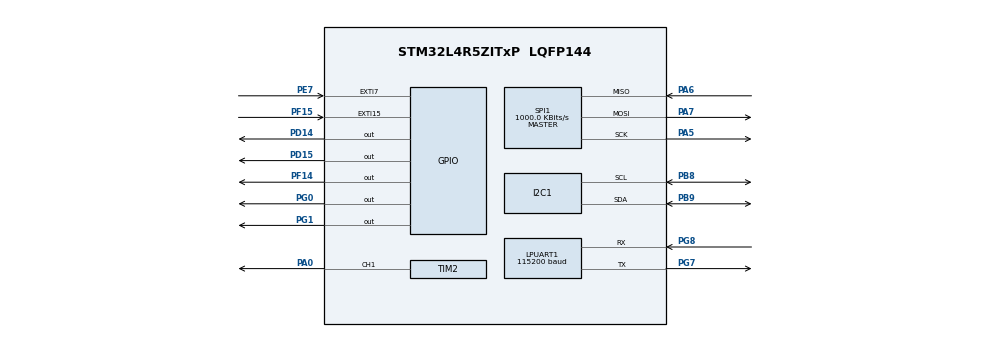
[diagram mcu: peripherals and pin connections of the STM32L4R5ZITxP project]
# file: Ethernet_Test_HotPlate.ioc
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I2C1.Timing=0x00100D14
LPUART1.BaudRate=115200
LPUART1.WordLength=UART_WORDLENGTH_8B
Mcu.Family=STM32L4
Mcu.Name=STM32L4R5ZITxP
Mcu.Package=LQFP144
NVIC.EXTI15_10_IRQn=true\:0\:0\:false\:false\:true\:true\:true\:true
NVIC.EXTI9_5_IRQn=true\:0\:0\:false\:false\:true\:true\:true\:true
NVIC.PriorityGroup=NVIC_PRIORITYGROUP_4
PA0.Signal=S_TIM2_CH1
PA1.Signal=ADCx_IN6
PA10.Signal=USB_OTG_FS_ID
PA13\ (JTMS/SWDIO).Signal=SYS_JTMS-SWDIO
PA14\ (JTCK/SWCLK).Signal=SYS_JTCK-SWCLK
PA3.Signal=ADCx_IN8
PA4.Signal=SPI1_NSS
PA5.Mode=Full_Duplex_Master
PA5.Signal=SPI1_SCK
PA6.Mode=Full_Duplex_Master
PA6.Signal=SPI1_MISO
PA7.Mode=Full_Duplex_Master
PA7.Signal=SPI1_MOSI
PA8.Signal=USB_OTG_FS_SOF
PA9.Signal=USB_OTG_FS_VBUS
PB0.Signal=S_TIM3_CH3
PB1.Signal=ADCx_IN16
PB10.Signal=S_TIM2_CH3
PB12.Signal=SAI2_FS_A
PB13.Signal=SAI2_SCK_A
PB14.Signal=S_TIM15_CH1
PB15.Signal=SAI2_SD_A
PB2.Signal=COMP1_INP
PB3\ (JTDO/TRACESWO).Signal=SPI3_SCK
PB4\ (NJTRST).Signal=SPI3_MISO
PB5.Signal=SPI3_MOSI
PB6.Signal=COMP2_INP
PB8.Mode=I2C
PB8.Signal=I2C1_SCL
PB9.Mode=I2C
PB9.Signal=I2C1_SDA
PC0.Signal=ADCx_IN1
PC1.Signal=ADCx_IN2
PC10.Signal=SDMMC1_D2
PC11.Signal=SDMMC1_D3
PC12.Signal=SDMMC1_CK
PC13.Signal=SYS_WKUP2
PC14-OSC32_IN\ (PC14).Signal=RCC_OSC32_IN
PC15-OSC32_OUT\ (PC15).Signal=RCC_OSC32_OUT
PC2.Signal=ADCx_IN3
PC3.Signal=ADCx_IN4
PC4.Signal=ADCx_IN13
PC5.Signal=ADCx_IN14
PC6.Signal=SAI2_MCLK_A
PC7.Signal=S_TIM3_CH2
PC8.Signal=SDMMC1_D0
PC9.Signal=SDMMC1_D1
PD0.Signal=CAN1_RX
PD14.GPIO_Speed=GPIO_SPEED_FREQ_HIGH
PD14.PinState=GPIO_PIN_SET
PD14.Signal=GPIO_Output
PD15.GPIO_Speed=GPIO_SPEED_FREQ_HIGH
PD15.Signal=GPIO_Output
PD2.Signal=SDMMC1_CMD
PD3.Signal=USART2_CTS
PD4.Signal=USART2_RTS
PD5.Signal=USART2_TX
PD6.Signal=USART2_RX
PD8.Signal=USART3_TX
PD9.Signal=USART3_RX
PE0.Signal=S_TIM4_ETR
PE10.Signal=TIM1_CH2N
PE11.Signal=S_TIM1_CH2
PE12.Signal=TIM1_CH3N
PE13.Signal=S_TIM1_CH3
PE14.Signal=TIM1_BKIN2
PE15.Signal=TIM1_BKIN
PE2.Signal=SAI1_MCLK_A
PE3.Signal=SAI1_SD_B
PE7.GPIO_ModeDefaultEXTI=GPIO_MODE_IT_FALLING
PE7.GPIO_PuPd=GPIO_PULLUP
PE7.Signal=GPXTI7
PE8.Signal=TIM1_CH1N
PE9.Signal=S_TIM1_CH1
PF0.Signal=I2C2_SDA
PF1.Signal=I2C2_SCL
PF14.PinState=GPIO_PIN_SET
PF14.Signal=GPIO_Output
PF15.GPIO_ModeDefaultEXTI=GPIO_MODE_IT_FALLING
PF15.Signal=GPXTI15
PF2.Signal=I2C2_SMBA
PF7.Signal=SAI1_MCLK_B
PG0.GPIO_ModeDefaultOutputPP=GPIO_MODE_OUTPUT_OD
PG0.GPIO_PuPd=GPIO_PULLUP
PG0.GPIO_Speed=GPIO_SPEED_FREQ_HIGH
PG0.PinState=GPIO_PIN_SET
PG0.Signal=GPIO_Output
PG1.GPIO_ModeDefaultOutputPP=GPIO_MODE_OUTPUT_OD
PG1.GPIO_PuPd=GPIO_PULLUP
PG1.GPIO_Speed=GPIO_SPEED_FREQ_HIGH
PG1.PinState=GPIO_PIN_SET
PG1.Signal=GPIO_Output
PG7.Mode=Asynchronous
PG7.Signal=LPUART1_TX
PG8.Mode=Asynchronous
PG8.Signal=LPUART1_RX
PH0-OSC_IN\ (PH0).Signal=RCC_OSC_IN
PH1-OSC_OUT\ (PH1).Signal=RCC_OSC_OUT
ProjectManager.HeapSize=0x200
ProjectManager.StackSize=0x400
ProjectManager.TargetToolchain=STM32CubeIDE
RCC.HSE_VALUE=8000000
RCC.HSI48_VALUE=48000000
RCC.HSI_VALUE=16000000
RCC.LSE_VALUE=32768
RCC.MSI_VALUE=4000000
RCC.VCOOutputFreq_Value=32000000
SH.ADCx_IN1.0=ADC1_IN1
SH.ADCx_IN13.0=ADC1_IN13
SH.ADCx_IN14.0=ADC1_IN14
SH.ADCx_IN16.0=ADC1_IN16
SH.ADCx_IN2.0=ADC1_IN2
SH.ADCx_IN3.0=ADC1_IN3
SH.ADCx_IN4.0=ADC1_IN4
SH.ADCx_IN6.0=ADC1_IN6
SH.ADCx_IN8.0=ADC1_IN8
SH.S_TIM15_CH1.0=TIM15_CH1
SH.S_TIM1_CH1.0=TIM1_CH1
SH.S_TIM1_CH2.0=TIM1_CH2
SH.S_TIM1_CH3.0=TIM1_CH3
SH.S_TIM2_CH1.0=TIM2_CH1,PWM Generation1 CH1
SH.S_TIM2_CH3.0=TIM2_CH3
SH.S_TIM3_CH2.0=TIM3_CH2
SH.S_TIM3_CH3.0=TIM3_CH3
SH.S_TIM4_ETR.0=TIM4_ETR
SPI1.BaudRatePrescaler=SPI_BAUDRATEPRESCALER_4
SPI1.CalculateBaudRate=1000.0 KBits/s
SPI1.DataSize=SPI_DATASIZE_8BIT
SPI1.Direction=SPI_DIRECTION_2LINES
SPI1.Mode=SPI_MODE_MASTER
SPI1.NSSPMode=SPI_NSS_PULSE_DISABLE
SPI1.VirtualType=VM_MASTER
TIM2.Channel-PWM\ Generation1\ CH1=TIM_CHANNEL_1
TIM2.Period=1000
TIM2.Prescaler=31
TIM2.Pulse-PWM\ Generation1\ CH1=100
VP_TIM2_VS_ClockSourceINT.Mode=Internal
board=NUCLEO-L4R5ZI-P

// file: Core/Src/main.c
/* USER CODE BEGIN Header */
/**
 ******************************************************************************
 * @file           : main.c
 * @brief          : Main program body
 ******************************************************************************
 * @attention
 *
 * Copyright (c) 2025 STMicroelectronics.
 * All rights reserved.
 *
 * This software is licensed under terms that can be found in the LICENSE file
 * in the root directory of this software component.
 * If no LICENSE file comes with this software, it is provided AS-IS.
 *
 ******************************************************************************
 */
/* USER CODE END Header */
#include "main.h"

/* USER CODE BEGIN Includes */
#include "net_w5500.h"
#include "stdio.h"
#include "stdint.h"
#include "math.h"
#include "tm1637.h"
#include "pid.h"
#include "Modulino_Knob.h"
#include "AHT21.h"

/* USER CODE END Includes */

/* USER CODE BEGIN PD */
#define W5500_CS_GPIO_Port   GPIOD
#define W5500_CS_Pin         GPIO_PIN_14   // your CS

#define W5500_INT_GPIO_Port  GPIOF
#define W5500_INT_Pin        GPIO_PIN_15

#define W5500_RST_GPIO_Port   GPIOD
#define W5500_RST_Pin         GPIO_PIN_15

#define W5500_COMMON_BLOCK   0x00  // BSB for common regs
#define W5500_OM_VDM         0x00  // variable data length mode
#define W5500_RWB_READ       0x01  // <-- note: this bit position depends on datasheet bitfield; see note below

#define SELECTION_TIMEOUT	3000

static inline void W5500_Select(void) {
	HAL_GPIO_WritePin(W5500_CS_GPIO_Port, W5500_CS_Pin, GPIO_PIN_RESET);
}
static inline void W5500_Deselect(void) {
	HAL_GPIO_WritePin(W5500_CS_GPIO_Port, W5500_CS_Pin, GPIO_PIN_SET);
}

/* USER CODE END PD */

I2C_HandleTypeDef hi2c1;

UART_HandleTypeDef hlpuart1;

SPI_HandleTypeDef hspi1;

TIM_HandleTypeDef htim2;

/* USER CODE BEGIN PV */

enum states {
	IDLE = 0, SELECTING
};
tm1637_t tm1637_display;
int STATE;

// PID variables - MUST be doubles
PID_TypeDef TPID;
uint16_t knobReading;
double setpoint = 25.0;      // Changed from float to double
double current_temp = 0.0;   // Changed from float to double
double pid_output = 0.0;     // Changed from float to double
uint32_t pwm_out = 0;

// PID tuning parameters
double Kp = 10.0;
double Ki = 2.0;
double Kd = 3.0;
double Kt = 1.5; // custom parameter to account for heat dispersion

int last_connected = 0;
uint32_t click_time = 0;

/* USER CODE END PV */

void SystemClock_Config(void);
static void MX_GPIO_Init(void);
static void MX_SPI1_Init(void);
static void MX_LPUART1_UART_Init(void);
static void MX_I2C1_Init(void);
static void MX_TIM2_Init(void);

/* USER CODE BEGIN 0 */

// 1-byte SPI xfer helper
static uint8_t spi_txrx1(uint8_t v) {
	uint8_t rx;
	HAL_SPI_TransmitReceive(&hspi1, &v, &rx, 1, HAL_MAX_DELAY);
	return rx;
}

//void HAL_GPIO_EXTI_Callback(uint16_t GPIO_Pin) {
//  if (GPIO_Pin == W5500_INT_Pin) {
//    net_w5500_irq_handler();
//  }
//}

uint8_t W5500_ReadVersion(void) {
	uint8_t ver;
	W5500_Select();
	spi_txrx1(0x00); // Address High (VERSIONR = 0x0039)
	spi_txrx1(0x39); // Address Low
	spi_txrx1(0x00); // Control: Common Block, Read, VDM Mode
	ver = spi_txrx1(0x00); // Dummy byte to clock in the data
	W5500_Deselect();
	return ver;
}

int _write(int file, char *ptr, int len) {
	(void) file;
	HAL_UART_Transmit(&hlpuart1, (uint8_t*) ptr, len, HAL_MAX_DELAY);
	return len;
}

int __io_putchar(int ch) {
	HAL_UART_Transmit(&hlpuart1, (uint8_t*) &ch, 1, 10);
	return ch;
}

void TM1637_Init(void) {
	// Initialize TM1637 display
	tm1637_display.gpio_clk = GPIOG;
	tm1637_display.pin_clk = GPIO_PIN_0;
	tm1637_display.gpio_dat = GPIOG;
	tm1637_display.pin_dat = GPIO_PIN_1;
	tm1637_display.seg_cnt = 4;  // 4-digit display

	tm1637_err_t result = tm1637_init(&tm1637_display);
	if (result == TM1637_ERR_NONE) {
		printf("TM1637 Init SUCCESS!\r\n");

		tm1637_brightness(&tm1637_display, 8);  // Max brightness (0-8)
		printf("Brightness set to 8\r\n");

		tm1637_clear(&tm1637_display);
		printf("Display cleared\r\n");

		// Test display - show "----" for 1 second
		result = tm1637_printf(&tm1637_display, "----");
		printf("Display ---- result: %d\r\n", result);
		HAL_Delay(1000);

		tm1637_clear(&tm1637_display);
		printf("Display cleared again\r\n");
	} else {
		printf("TM1637 Init FAILED! Error: %d\r\n", result);
	}

}

void PID_Start(void) {
	// Start PWM on TIM2 Channel 1
	HAL_TIM_PWM_Start(&htim2, TIM_CHANNEL_1);

	// Initialize with 0% duty cycle (off)
	__HAL_TIM_SET_COMPARE(&htim2, TIM_CHANNEL_1, 0);

	// Initialize temperature sensor
	AHT21_init();
	HAL_Delay(100);  // Give sensor time to stabilize

	// Initialize PID controller
	// PID2(PID_TypeDef *uPID, double *Input, double *Output, double *Setpoint,
	//      double Kp, double Ki, double Kd, PIDCD_TypeDef ControllerDirection)
	PID2(&TPID, &current_temp, &pid_output, &setpoint, Kp, Ki, Kd,
			_PID_CD_DIRECT);

	// Set PID output limits to match your PWM range (0-1000)
	PID_SetOutputLimits(&TPID, 0, 1000);

	// Set sample time to 500ms (matches your delay)
	PID_SetSampleTime(&TPID, 500);

	// Set PID mode to automatic
	PID_SetMode(&TPID, _PID_MODE_AUTOMATIC);

	printf("PID Temperature Control Started\r\n");
	printf("Setpoint: %.1f C\r\n", setpoint);
	printf("Kp=%.2f, Ki=%.2f, Kd=%.2f\r\n", Kp, Ki, Kd);
}

void updatePWM(void) {
	// Read current temperature from sensor
	current_temp = (double) AHT21_Read_Temperature();

	double error = setpoint - current_temp;
//	if (fabs(error) < 0.5)  // If within 0.5°C of setpoint
//			{
//		// Reset the PID's internal integral accumulator
//		TPID.OutputSum = 10.0;  // Set to desired baseline PWM value
//	}

	// Compute PID output (returns 1 if computed, 0 if waiting for sample time)
	if (PID_Compute(&TPID)) {
		// Safety check - limit maximum temperature
		if (current_temp > 100.0) {
			__HAL_TIM_SET_COMPARE(&htim2, TIM_CHANNEL_1, 0);
			tm1637_printf(&tm1637_display, "OVHT"); // Display "OVHT" for overheat
			printf("ERROR: Over temperature! System halted.\r\n");
			while (1)
				;  // Halt the system
		}

		pwm_out = (uint32_t) (pid_output + Kt * setpoint);
		pwm_out = 1000 < pwm_out ? 1000 : pwm_out;
		if (error < -0.03) {
			pwm_out = 0;
		}

		// Apply PID output to PWM
		__HAL_TIM_SET_COMPARE(&htim2, TIM_CHANNEL_1, pwm_out);

		// Update TM1637 display with current temperature (every 500ms when PID computes)
		if (STATE != SELECTING){
			char temp_str[5];
			snprintf(temp_str, sizeof(temp_str), "%4.1f", current_temp);
			tm1637_printf(&tm1637_display, temp_str);
		}

		// Print debug information
		printf("Temp: %.2f C | SP: %.1f C | PWM: %d/1000 | Err: %.2f\r\n",
				current_temp, setpoint, pwm_out, (setpoint - current_temp));

		char buf[64];
		snprintf(buf, sizeof buf, "Temp: %.2f C | SP: %.1f C | STATE: %d \n\r",
				current_temp, setpoint, STATE);
		net_send_str(buf);
	}

}

void HAL_GPIO_EXTI_Callback(uint16_t GPIO_Pin) {
	if (GPIO_Pin == GPIO_PIN_7) // use PE7 for pushbutton
	{
		if (STATE == IDLE) {
			Knob_Set_Position((uint16_t) setpoint);
			click_time = HAL_GetTick();
			STATE = SELECTING;
		} else if (STATE == SELECTING) {
			setpoint = knobReading;
			STATE = IDLE;
		}
	}
}

void network_handler(void) {
	// keep the socket serviced
	net_poll();

	// verify connection status
	int connected = net_is_connected();

	// Send a one-time greeting right after a client connects
	if (connected && !last_connected) {
		printf("Connected!\n\r");
		net_send_str("DeviceType: HOT_PLATE \n\r");
	}

	char line[256];
	int n = net_recv_line(line, sizeof line, 0);  // non-blocking
	if (n > 0) {
		int newtemp;
		int result = sscanf(line, "%d", &newtemp);
		if (result > 0 &&  newtemp <= 100 && newtemp >= 0 && STATE != SELECTING){
			setpoint = (double)newtemp;
			net_send_str("ACK: ");
			net_send_str(line);
			net_send_str("\n\r");
		} else {
			net_send_str("NACK");
			net_send_str("\n\r");
		}

		printf("New temperature: %.1f \n\r", setpoint);

	}

	last_connected = connected;
}
/* USER CODE END 0 */

int main(void)
{

  /* MCU Configuration--------------------------------------------------------*/

  /* Reset of all peripherals, Initializes the Flash interface and the Systick. */
  HAL_Init();

  /* Configure the system clock */
  SystemClock_Config();

  /* Initialize all configured peripherals */
  MX_GPIO_Init();
  MX_SPI1_Init();
  MX_LPUART1_UART_Init();
  MX_I2C1_Init();
  MX_TIM2_Init();
  /* USER CODE BEGIN 2 */

	STATE = IDLE;

	Knob_Set_Position((uint16_t) setpoint);

	TM1637_Init();

	PID_Start();

	ethernet_start();                   // DHCP → static fallback
	net_start_server(NET_SERVER_PORT);  // default 5000

	printf("nc -v <ip> %u\r\n", NET_SERVER_PORT);
	printf("nc -v <ip> 5000   (type lines, press Enter)\r\n");

  /* USER CODE END 2 */

  /* Infinite loop */
  /* USER CODE BEGIN WHILE */
	while (1) {
		switch (STATE) {
		case IDLE:
			updatePWM();
			network_handler();
			break;

		case SELECTING:
			knobReading = Knob_Read_Position();
			char display_str[5];
			snprintf(display_str, sizeof(display_str), "%d", knobReading);
			tm1637_printf(&tm1637_display, display_str);
			updatePWM();
			network_handler();

			if (HAL_GetTick() - click_time > SELECTION_TIMEOUT) {
				setpoint = knobReading;
				STATE = IDLE;
			}
			break;

		default:
			STATE = IDLE;

		}
    /* USER CODE END WHILE */

	}
}

void SystemClock_Config(void)
{
  RCC_OscInitTypeDef RCC_OscInitStruct = {0};
  RCC_ClkInitTypeDef RCC_ClkInitStruct = {0};

  /** Configure the main internal regulator output voltage
  */
  if (HAL_PWREx_ControlVoltageScaling(PWR_REGULATOR_VOLTAGE_SCALE1) != HAL_OK)
  {
    Error_Handler();
  }

  /** Initializes the RCC Oscillators according to the specified parameters
  * in the RCC_OscInitTypeDef structure.
  */
  RCC_OscInitStruct.OscillatorType = RCC_OSCILLATORTYPE_MSI;
  RCC_OscInitStruct.MSIState = RCC_MSI_ON;
  RCC_OscInitStruct.MSICalibrationValue = 0;
  RCC_OscInitStruct.MSIClockRange = RCC_MSIRANGE_6;
  RCC_OscInitStruct.PLL.PLLState = RCC_PLL_NONE;
  if (HAL_RCC_OscConfig(&RCC_OscInitStruct) != HAL_OK)
  {
    Error_Handler();
  }

  /** Initializes the CPU, AHB and APB buses clocks
  */
  RCC_ClkInitStruct.ClockType = RCC_CLOCKTYPE_HCLK|RCC_CLOCKTYPE_SYSCLK
                              |RCC_CLOCKTYPE_PCLK1|RCC_CLOCKTYPE_PCLK2;
  RCC_ClkInitStruct.SYSCLKSource = RCC_SYSCLKSOURCE_MSI;
  RCC_ClkInitStruct.AHBCLKDivider = RCC_SYSCLK_DIV1;
  RCC_ClkInitStruct.APB1CLKDivider = RCC_HCLK_DIV1;
  RCC_ClkInitStruct.APB2CLKDivider = RCC_HCLK_DIV1;

  if (HAL_RCC_ClockConfig(&RCC_ClkInitStruct, FLASH_LATENCY_0) != HAL_OK)
  {
    Error_Handler();
  }
}

static void MX_I2C1_Init(void)
{

  hi2c1.Instance = I2C1;
  hi2c1.Init.Timing = 0x00100D14;
  hi2c1.Init.OwnAddress1 = 0;
  hi2c1.Init.AddressingMode = I2C_ADDRESSINGMODE_7BIT;
  hi2c1.Init.DualAddressMode = I2C_DUALADDRESS_DISABLE;
  hi2c1.Init.OwnAddress2 = 0;
  hi2c1.Init.OwnAddress2Masks = I2C_OA2_NOMASK;
  hi2c1.Init.GeneralCallMode = I2C_GENERALCALL_DISABLE;
  hi2c1.Init.NoStretchMode = I2C_NOSTRETCH_DISABLE;
  if (HAL_I2C_Init(&hi2c1) != HAL_OK)
  {
    Error_Handler();
  }

  /** Configure Analogue filter
  */
  if (HAL_I2CEx_ConfigAnalogFilter(&hi2c1, I2C_ANALOGFILTER_ENABLE) != HAL_OK)
  {
    Error_Handler();
  }

  /** Configure Digital filter
  */
  if (HAL_I2CEx_ConfigDigitalFilter(&hi2c1, 0) != HAL_OK)
  {
    Error_Handler();
  }

}

static void MX_LPUART1_UART_Init(void)
{

  hlpuart1.Instance = LPUART1;
  hlpuart1.Init.BaudRate = 115200;
  hlpuart1.Init.WordLength = UART_WORDLENGTH_8B;
  hlpuart1.Init.StopBits = UART_STOPBITS_1;
  hlpuart1.Init.Parity = UART_PARITY_NONE;
  hlpuart1.Init.Mode = UART_MODE_TX_RX;
  hlpuart1.Init.HwFlowCtl = UART_HWCONTROL_NONE;
  hlpuart1.Init.OneBitSampling = UART_ONE_BIT_SAMPLE_DISABLE;
  hlpuart1.Init.ClockPrescaler = UART_PRESCALER_DIV1;
  hlpuart1.AdvancedInit.AdvFeatureInit = UART_ADVFEATURE_NO_INIT;
  hlpuart1.FifoMode = UART_FIFOMODE_DISABLE;
  if (HAL_UART_Init(&hlpuart1) != HAL_OK)
  {
    Error_Handler();
  }
  if (HAL_UARTEx_SetTxFifoThreshold(&hlpuart1, UART_TXFIFO_THRESHOLD_1_8) != HAL_OK)
  {
    Error_Handler();
  }
  if (HAL_UARTEx_SetRxFifoThreshold(&hlpuart1, UART_RXFIFO_THRESHOLD_1_8) != HAL_OK)
  {
    Error_Handler();
  }
  if (HAL_UARTEx_DisableFifoMode(&hlpuart1) != HAL_OK)
  {
    Error_Handler();
  }

}

static void MX_SPI1_Init(void)
{

  /* SPI1 parameter configuration*/
  hspi1.Instance = SPI1;
  hspi1.Init.Mode = SPI_MODE_MASTER;
  hspi1.Init.Direction = SPI_DIRECTION_2LINES;
  hspi1.Init.DataSize = SPI_DATASIZE_8BIT;
  hspi1.Init.CLKPolarity = SPI_POLARITY_LOW;
  hspi1.Init.CLKPhase = SPI_PHASE_1EDGE;
  hspi1.Init.NSS = SPI_NSS_SOFT;
  hspi1.Init.BaudRatePrescaler = SPI_BAUDRATEPRESCALER_4;
  hspi1.Init.FirstBit = SPI_FIRSTBIT_MSB;
  hspi1.Init.TIMode = SPI_TIMODE_DISABLE;
  hspi1.Init.CRCCalculation = SPI_CRCCALCULATION_DISABLE;
  hspi1.Init.CRCPolynomial = 7;
  hspi1.Init.CRCLength = SPI_CRC_LENGTH_DATASIZE;
  hspi1.Init.NSSPMode = SPI_NSS_PULSE_DISABLE;
  if (HAL_SPI_Init(&hspi1) != HAL_OK)
  {
    Error_Handler();
  }

}

static void MX_TIM2_Init(void)
{

  TIM_ClockConfigTypeDef sClockSourceConfig = {0};
  TIM_MasterConfigTypeDef sMasterConfig = {0};
  TIM_OC_InitTypeDef sConfigOC = {0};

  htim2.Instance = TIM2;
  htim2.Init.Prescaler = 31;
  htim2.Init.CounterMode = TIM_COUNTERMODE_UP;
  htim2.Init.Period = 1000;
  htim2.Init.ClockDivision = TIM_CLOCKDIVISION_DIV1;
  htim2.Init.AutoReloadPreload = TIM_AUTORELOAD_PRELOAD_DISABLE;
  if (HAL_TIM_Base_Init(&htim2) != HAL_OK)
  {
    Error_Handler();
  }
  sClockSourceConfig.ClockSource = TIM_CLOCKSOURCE_INTERNAL;
  if (HAL_TIM_ConfigClockSource(&htim2, &sClockSourceConfig) != HAL_OK)
  {
    Error_Handler();
  }
  if (HAL_TIM_PWM_Init(&htim2) != HAL_OK)
  {
    Error_Handler();
  }
  sMasterConfig.MasterOutputTrigger = TIM_TRGO_RESET;
  sMasterConfig.MasterSlaveMode = TIM_MASTERSLAVEMODE_DISABLE;
  if (HAL_TIMEx_MasterConfigSynchronization(&htim2, &sMasterConfig) != HAL_OK)
  {
    Error_Handler();
  }
  sConfigOC.OCMode = TIM_OCMODE_PWM1;
  sConfigOC.Pulse = 100;
  sConfigOC.OCPolarity = TIM_OCPOLARITY_HIGH;
  sConfigOC.OCFastMode = TIM_OCFAST_DISABLE;
  if (HAL_TIM_PWM_ConfigChannel(&htim2, &sConfigOC, TIM_CHANNEL_1) != HAL_OK)
  {
    Error_Handler();
  }
  HAL_TIM_MspPostInit(&htim2);

}

static void MX_GPIO_Init(void)
{
  GPIO_InitTypeDef GPIO_InitStruct = {0};

  /* GPIO Ports Clock Enable */
  __HAL_RCC_GPIOE_CLK_ENABLE();
  __HAL_RCC_GPIOC_CLK_ENABLE();
  __HAL_RCC_GPIOF_CLK_ENABLE();
  __HAL_RCC_GPIOH_CLK_ENABLE();
  __HAL_RCC_GPIOA_CLK_ENABLE();
  __HAL_RCC_GPIOB_CLK_ENABLE();
  __HAL_RCC_GPIOG_CLK_ENABLE();
  __HAL_RCC_GPIOD_CLK_ENABLE();
  HAL_PWREx_EnableVddIO2();

  /*Configure GPIO pin Output Level */
  HAL_GPIO_WritePin(GPIOF, GPIO_PIN_14, GPIO_PIN_SET);

  /*Configure GPIO pin Output Level */
  HAL_GPIO_WritePin(GPIOG, GPIO_PIN_0|GPIO_PIN_1, GPIO_PIN_SET);

  /*Configure GPIO pin Output Level */
  HAL_GPIO_WritePin(GPIOD, GPIO_PIN_14, GPIO_PIN_SET);

  /*Configure GPIO pin Output Level */
  HAL_GPIO_WritePin(GPIOD, GPIO_PIN_15, GPIO_PIN_RESET);

  /*Configure GPIO pins : PE2 PE3 */
  GPIO_InitStruct.Pin = GPIO_PIN_2|GPIO_PIN_3;
  GPIO_InitStruct.Mode = GPIO_MODE_AF_PP;
  GPIO_InitStruct.Pull = GPIO_NOPULL;
  GPIO_InitStruct.Speed = GPIO_SPEED_FREQ_LOW;
  GPIO_InitStruct.Alternate = GPIO_AF13_SAI1;
  HAL_GPIO_Init(GPIOE, &GPIO_InitStruct);

  /*Configure GPIO pins : PF0 PF1 PF2 */
  GPIO_InitStruct.Pin = GPIO_PIN_0|GPIO_PIN_1|GPIO_PIN_2;
  GPIO_InitStruct.Mode = GPIO_MODE_AF_OD;
  GPIO_InitStruct.Pull = GPIO_NOPULL;
  GPIO_InitStruct.Speed = GPIO_SPEED_FREQ_VERY_HIGH;
  GPIO_InitStruct.Alternate = GPIO_AF4_I2C2;
  HAL_GPIO_Init(GPIOF, &GPIO_InitStruct);

  /*Configure GPIO pin : PF7 */
  GPIO_InitStruct.Pin = GPIO_PIN_7;
  GPIO_InitStruct.Mode = GPIO_MODE_AF_PP;
  GPIO_InitStruct.Pull = GPIO_NOPULL;
  GPIO_InitStruct.Speed = GPIO_SPEED_FREQ_LOW;
  GPIO_InitStruct.Alternate = GPIO_AF13_SAI1;
  HAL_GPIO_Init(GPIOF, &GPIO_InitStruct);

  /*Configure GPIO pins : PC0 PC1 PC2 PC3
                           PC4 PC5 */
  GPIO_InitStruct.Pin = GPIO_PIN_0|GPIO_PIN_1|GPIO_PIN_2|GPIO_PIN_3
                          |GPIO_PIN_4|GPIO_PIN_5;
  GPIO_InitStruct.Mode = GPIO_MODE_ANALOG_ADC_CONTROL;
  GPIO_InitStruct.Pull = GPIO_NOPULL;
  HAL_GPIO_Init(GPIOC, &GPIO_InitStruct);

  /*Configure GPIO pins : PA1 PA3 */
  GPIO_InitStruct.Pin = GPIO_PIN_1|GPIO_PIN_3;
  GPIO_InitStruct.Mode = GPIO_MODE_ANALOG_ADC_CONTROL;
  GPIO_InitStruct.Pull = GPIO_NOPULL;
  HAL_GPIO_Init(GPIOA, &GPIO_InitStruct);

  /*Configure GPIO pin : PB0 */
  GPIO_InitStruct.Pin = GPIO_PIN_0;
  GPIO_InitStruct.Mode = GPIO_MODE_AF_PP;
  GPIO_InitStruct.Pull = GPIO_NOPULL;
  GPIO_InitStruct.Speed = GPIO_SPEED_FREQ_LOW;
  GPIO_InitStruct.Alternate = GPIO_AF2_TIM3;
  HAL_GPIO_Init(GPIOB, &GPIO_InitStruct);

  /*Configure GPIO pin : PB1 */
  GPIO_InitStruct.Pin = GPIO_PIN_1;
  GPIO_InitStruct.Mode = GPIO_MODE_ANALOG_ADC_CONTROL;
  GPIO_InitStruct.Pull = GPIO_NOPULL;
  HAL_GPIO_Init(GPIOB, &GPIO_InitStruct);

  /*Configure GPIO pins : PB2 PB6 */
  GPIO_InitStruct.Pin = GPIO_PIN_2|GPIO_PIN_6;
  GPIO_InitStruct.Mode = GPIO_MODE_ANALOG;
  GPIO_InitStruct.Pull = GPIO_NOPULL;
  HAL_GPIO_Init(GPIOB, &GPIO_InitStruct);

  /*Configure GPIO pin : PF14 */
  GPIO_InitStruct.Pin = GPIO_PIN_14;
  GPIO_InitStruct.Mode = GPIO_MODE_OUTPUT_PP;
  GPIO_InitStruct.Pull = GPIO_NOPULL;
  GPIO_InitStruct.Speed = GPIO_SPEED_FREQ_LOW;
  HAL_GPIO_Init(GPIOF, &GPIO_InitStruct);

  /*Configure GPIO pin : PF15 */
  GPIO_InitStruct.Pin = GPIO_PIN_15;
  GPIO_InitStruct.Mode = GPIO_MODE_IT_FALLING;
  GPIO_InitStruct.Pull = GPIO_NOPULL;
  HAL_GPIO_Init(GPIOF, &GPIO_InitStruct);

  /*Configure GPIO pins : PG0 PG1 */
  GPIO_InitStruct.Pin = GPIO_PIN_0|GPIO_PIN_1;
  GPIO_InitStruct.Mode = GPIO_MODE_OUTPUT_OD;
  GPIO_InitStruct.Pull = GPIO_PULLUP;
  GPIO_InitStruct.Speed = GPIO_SPEED_FREQ_HIGH;
  HAL_GPIO_Init(GPIOG, &GPIO_InitStruct);

  /*Configure GPIO pin : PE7 */
  GPIO_InitStruct.Pin = GPIO_PIN_7;
  GPIO_InitStruct.Mode = GPIO_MODE_IT_FALLING;
  GPIO_InitStruct.Pull = GPIO_PULLUP;
  HAL_GPIO_Init(GPIOE, &GPIO_InitStruct);

  /*Configure GPIO pins : PE8 PE9 PE10 PE11
                           PE12 PE13 */
  GPIO_InitStruct.Pin = GPIO_PIN_8|GPIO_PIN_9|GPIO_PIN_10|GPIO_PIN_11
                          |GPIO_PIN_12|GPIO_PIN_13;
  GPIO_InitStruct.Mode = GPIO_MODE_AF_PP;
  GPIO_InitStruct.Pull = GPIO_NOPULL;
  GPIO_InitStruct.Speed = GPIO_SPEED_FREQ_LOW;
  GPIO_InitStruct.Alternate = GPIO_AF1_TIM1;
  HAL_GPIO_Init(GPIOE, &GPIO_InitStruct);

  /*Configure GPIO pins : PE14 PE15 */
  GPIO_InitStruct.Pin = GPIO_PIN_14|GPIO_PIN_15;
  GPIO_InitStruct.Mode = GPIO_MODE_AF_PP;
  GPIO_InitStruct.Pull = GPIO_NOPULL;
  GPIO_InitStruct.Speed = GPIO_SPEED_FREQ_LOW;
  GPIO_InitStruct.Alternate = GPIO_AF3_TIM1_COMP1;
  HAL_GPIO_Init(GPIOE, &GPIO_InitStruct);

  /*Configure GPIO pins : PB12 PB13 PB15 */
  GPIO_InitStruct.Pin = GPIO_PIN_12|GPIO_PIN_13|GPIO_PIN_15;
  GPIO_InitStruct.Mode = GPIO_MODE_AF_PP;
  GPIO_InitStruct.Pull = GPIO_NOPULL;
  GPIO_InitStruct.Speed = GPIO_SPEED_FREQ_LOW;
  GPIO_InitStruct.Alternate = GPIO_AF13_SAI2;
  HAL_GPIO_Init(GPIOB, &GPIO_InitStruct);

  /*Configure GPIO pin : PB14 */
  GPIO_InitStruct.Pin = GPIO_PIN_14;
  GPIO_InitStruct.Mode = GPIO_MODE_AF_PP;
  GPIO_InitStruct.Pull = GPIO_NOPULL;
  GPIO_InitStruct.Speed = GPIO_SPEED_FREQ_LOW;
  GPIO_InitStruct.Alternate = GPIO_AF14_TIM15;
  HAL_GPIO_Init(GPIOB, &GPIO_InitStruct);

  /*Configure GPIO pins : PD8 PD9 */
  GPIO_InitStruct.Pin = GPIO_PIN_8|GPIO_PIN_9;
  GPIO_InitStruct.Mode = GPIO_MODE_AF_PP;
  GPIO_InitStruct.Pull = GPIO_NOPULL;
  GPIO_InitStruct.Speed = GPIO_SPEED_FREQ_VERY_HIGH;
  GPIO_InitStruct.Alternate = GPIO_AF7_USART3;
  HAL_GPIO_Init(GPIOD, &GPIO_InitStruct);

  /*Configure GPIO pins : PD14 PD15 */
  GPIO_InitStruct.Pin = GPIO_PIN_14|GPIO_PIN_15;
  GPIO_InitStruct.Mode = GPIO_MODE_OUTPUT_PP;
  GPIO_InitStruct.Pull = GPIO_NOPULL;
  GPIO_InitStruct.Speed = GPIO_SPEED_FREQ_HIGH;
  HAL_GPIO_Init(GPIOD, &GPIO_InitStruct);

  /*Configure GPIO pin : PC6 */
  GPIO_InitStruct.Pin = GPIO_PIN_6;
  GPIO_InitStruct.Mode = GPIO_MODE_AF_PP;
  GPIO_InitStruct.Pull = GPIO_NOPULL;
  GPIO_InitStruct.Speed = GPIO_SPEED_FREQ_LOW;
  GPIO_InitStruct.Alternate = GPIO_AF13_SAI2;
  HAL_GPIO_Init(GPIOC, &GPIO_InitStruct);

  /*Configure GPIO pin : PC7 */
  GPIO_InitStruct.Pin = GPIO_PIN_7;
  GPIO_InitStruct.Mode = GPIO_MODE_AF_PP;
  GPIO_InitStruct.Pull = GPIO_NOPULL;
  GPIO_InitStruct.Speed = GPIO_SPEED_FREQ_LOW;
  GPIO_InitStruct.Alternate = GPIO_AF2_TIM3;
  HAL_GPIO_Init(GPIOC, &GPIO_InitStruct);

  /*Configure GPIO pins : PC8 PC9 PC10 PC11
                           PC12 */
  GPIO_InitStruct.Pin = GPIO_PIN_8|GPIO_PIN_9|GPIO_PIN_10|GPIO_PIN_11
                          |GPIO_PIN_12;
  GPIO_InitStruct.Mode = GPIO_MODE_AF_PP;
  GPIO_InitStruct.Pull = GPIO_NOPULL;
  GPIO_InitStruct.Speed = GPIO_SPEED_FREQ_VERY_HIGH;
  GPIO_InitStruct.Alternate = GPIO_AF12_SDMMC1;
  HAL_GPIO_Init(GPIOC, &GPIO_InitStruct);

  /*Configure GPIO pins : PA8 PA10 */
  GPIO_InitStruct.Pin = GPIO_PIN_8|GPIO_PIN_10;
  GPIO_InitStruct.Mode = GPIO_MODE_AF_PP;
  GPIO_InitStruct.Pull = GPIO_NOPULL;
  GPIO_InitStruct.Speed = GPIO_SPEED_FREQ_VERY_HIGH;
  GPIO_InitStruct.Alternate = GPIO_AF10_OTG_FS;
  HAL_GPIO_Init(GPIOA, &GPIO_InitStruct);

  /*Configure GPIO pin : PA9 */
  GPIO_InitStruct.Pin = GPIO_PIN_9;
  GPIO_InitStruct.Mode = GPIO_MODE_INPUT;
  GPIO_InitStruct.Pull = GPIO_NOPULL;
  HAL_GPIO_Init(GPIOA, &GPIO_InitStruct);

  /*Configure GPIO pin : PD0 */
  GPIO_InitStruct.Pin = GPIO_PIN_0;
  GPIO_InitStruct.Mode = GPIO_MODE_AF_PP;
  GPIO_InitStruct.Pull = GPIO_NOPULL;
  GPIO_InitStruct.Speed = GPIO_SPEED_FREQ_VERY_HIGH;
  GPIO_InitStruct.Alternate = GPIO_AF9_CAN1;
  HAL_GPIO_Init(GPIOD, &GPIO_InitStruct);

  /*Configure GPIO pin : PD2 */
  GPIO_InitStruct.Pin = GPIO_PIN_2;
  GPIO_InitStruct.Mode = GPIO_MODE_AF_PP;
  GPIO_InitStruct.Pull = GPIO_NOPULL;
  GPIO_InitStruct.Speed = GPIO_SPEED_FREQ_VERY_HIGH;
  GPIO_InitStruct.Alternate = GPIO_AF12_SDMMC1;
  HAL_GPIO_Init(GPIOD, &GPIO_InitStruct);

  /*Configure GPIO pins : PD3 PD4 PD5 PD6 */
  GPIO_InitStruct.Pin = GPIO_PIN_3|GPIO_PIN_4|GPIO_PIN_5|GPIO_PIN_6;
  GPIO_InitStruct.Mode = GPIO_MODE_AF_PP;
  GPIO_InitStruct.Pull = GPIO_NOPULL;
  GPIO_InitStruct.Speed = GPIO_SPEED_FREQ_VERY_HIGH;
  GPIO_InitStruct.Alternate = GPIO_AF7_USART2;
  HAL_GPIO_Init(GPIOD, &GPIO_InitStruct);

  /*Configure GPIO pins : PB3 PB4 PB5 */
  GPIO_InitStruct.Pin = GPIO_PIN_3|GPIO_PIN_4|GPIO_PIN_5;
  GPIO_InitStruct.Mode = GPIO_MODE_AF_PP;
  GPIO_InitStruct.Pull = GPIO_NOPULL;
  GPIO_InitStruct.Speed = GPIO_SPEED_FREQ_VERY_HIGH;
  GPIO_InitStruct.Alternate = GPIO_AF6_SPI3;
  HAL_GPIO_Init(GPIOB, &GPIO_InitStruct);

  /*Configure GPIO pin : PE0 */
  GPIO_InitStruct.Pin = GPIO_PIN_0;
  GPIO_InitStruct.Mode = GPIO_MODE_AF_PP;
  GPIO_InitStruct.Pull = GPIO_NOPULL;
  GPIO_InitStruct.Speed = GPIO_SPEED_FREQ_LOW;
  GPIO_InitStruct.Alternate = GPIO_AF2_TIM4;
  HAL_GPIO_Init(GPIOE, &GPIO_InitStruct);

  /* EXTI interrupt init*/
  HAL_NVIC_SetPriority(EXTI9_5_IRQn, 0, 0);
  HAL_NVIC_EnableIRQ(EXTI9_5_IRQn);

  HAL_NVIC_SetPriority(EXTI15_10_IRQn, 0, 0);
  HAL_NVIC_EnableIRQ(EXTI15_10_IRQn);

  /* USER CODE BEGIN MX_GPIO_Init_2 */

	// MARK- my code
	// configure PA5/6/7 for SPI
	GPIO_InitStruct.Pin = GPIO_PIN_5 | GPIO_PIN_6 | GPIO_PIN_7;
	GPIO_InitStruct.Mode = GPIO_MODE_AF_PP;
	GPIO_InitStruct.Pull = GPIO_NOPULL;
	GPIO_InitStruct.Speed = GPIO_SPEED_FREQ_VERY_HIGH;
	GPIO_InitStruct.Alternate = GPIO_AF5_SPI1;
	HAL_GPIO_Init(GPIOA, &GPIO_InitStruct);

  /* USER CODE END MX_GPIO_Init_2 */
}

void Error_Handler(void)
{
	__disable_irq();
	while (1) {
	}
}
